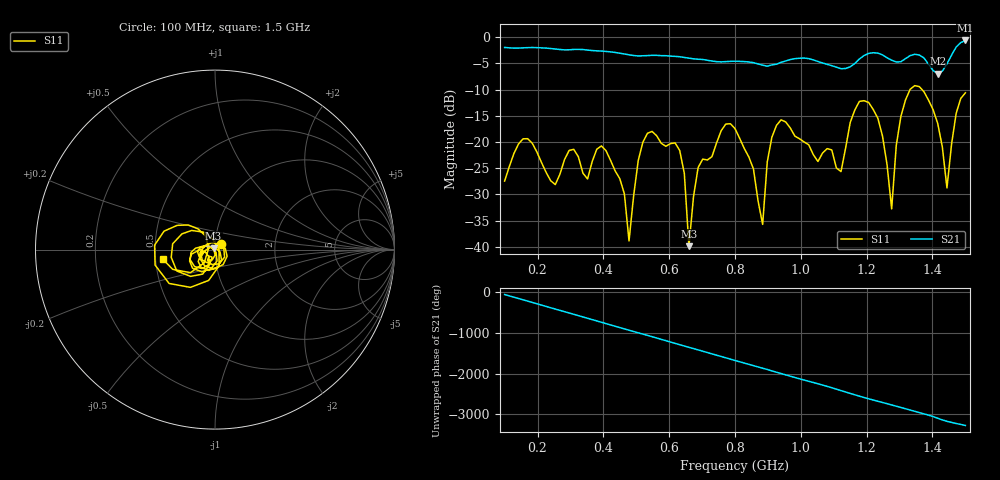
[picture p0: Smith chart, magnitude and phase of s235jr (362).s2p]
! NanoVNA-App
! Date: 2025-09-25 15:06:59
! Start: 100MHz Stop: 1,5GHz Points: 101
! S-Parameter data: F S11 S21 S12 S22
# Hz S RI R 50
!  Frequency  S11_Real  S11_Imag  S21_Real  S21_Imag  S12_Real  S12_Imag  S22_Real  S22_Imag
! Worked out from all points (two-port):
!   101 points, 100 MHz to 1.5 GHz, reference 50 ohm
!   highest |S21| = -0.63 dB at 1.5 GHz (marker M1); lowest = -7.0 dB at 1.416 GHz (marker M2)
!   |S21| within 3 dB of the highest: start of sweep to 606.9 MHz; 1.189 GHz to 1.254 GHz (64.91 MHz wide, 5.31 % of centre) (the widest 2 of 4)
!   lowest |S11| = -39.9 dB at 660 MHz (marker M3), VSWR 1.02, Z = 49.2 + j0.611 ohm
!   |S11| at or under -10 dB: start of sweep to 1.332 GHz; 1.368 GHz to end of sweep
!   S12 and S22 are empty: the file has one direction only
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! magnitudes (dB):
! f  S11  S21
! 100 MHz  -27.5  -2.0
! 156 MHz  -19.4  -2.0
! 338 MHz  -26.0  -2.4
! 408 MHz  -21.7  -2.7
! 478 MHz  -38.9  -3.4
! 520 MHz  -20.1  -3.6
! 576 MHz  -20.3  -3.5
! 632 MHz  -21.6  -3.7
! 660 MHz  -39.9  -4.0
! 688 MHz  -24.9  -4.2
! 800 MHz  -17.5  -4.6
! 884 MHz  -35.7  -5.3
! 926 MHz  -16.8  -5.2
! 1.038 GHz  -22.4  -4.3
! 1.122 GHz  -25.7  -6.0
! 1.206 GHz  -12.5  -3.1
! 1.276 GHz  -32.8  -4.4
! 1.29 GHz  -20.6  -4.7
! 1.332 GHz  -10.0  -3.5
! 1.416 GHz  -16.5  -7.0
! 1.444 GHz  -28.8  -5.1
! 1.5 GHz  -10.6  -0.6
